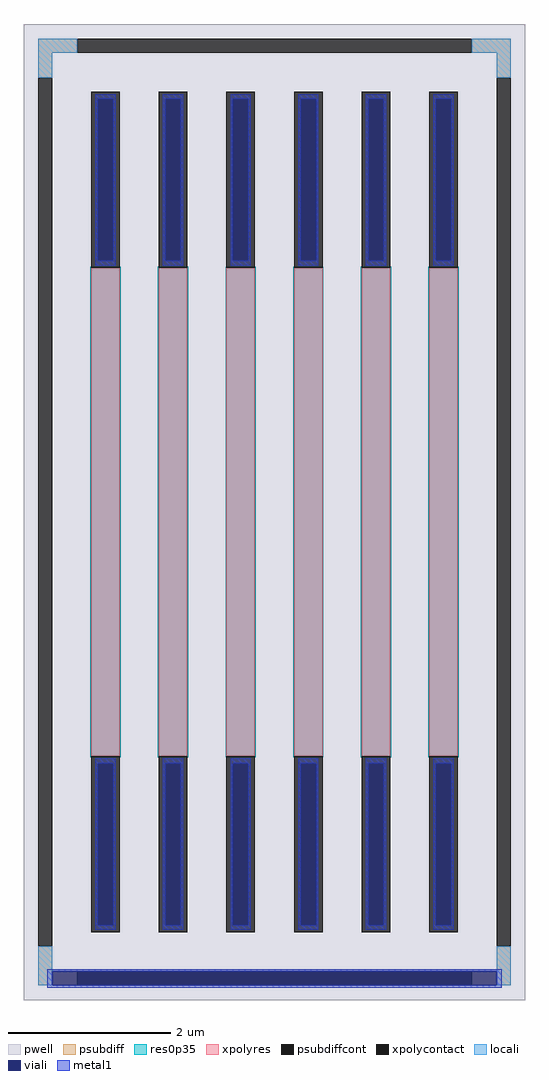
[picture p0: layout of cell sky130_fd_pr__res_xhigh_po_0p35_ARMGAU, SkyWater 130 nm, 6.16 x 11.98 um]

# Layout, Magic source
magic
tech sky130A
magscale 1 2
<< pwell >>
rect -616 -1198 616 1198
<< psubdiff >>
rect -580 1128 -484 1162
rect 484 1128 580 1162
rect -580 1066 -546 1128
rect 546 1066 580 1128
rect -580 -1128 -546 -1066
rect 546 -1128 580 -1066
rect -580 -1162 -484 -1128
rect 484 -1162 580 -1128
<< psubdiffcont >>
rect -484 1128 484 1162
rect -580 -1066 -546 1066
rect 546 -1066 580 1066
rect -484 -1162 484 -1128
<< xpolycontact >>
rect -450 600 -380 1032
rect -450 -1032 -380 -600
rect -284 600 -214 1032
rect -284 -1032 -214 -600
rect -118 600 -48 1032
rect -118 -1032 -48 -600
rect 48 600 118 1032
rect 48 -1032 118 -600
rect 214 600 284 1032
rect 214 -1032 284 -600
rect 380 600 450 1032
rect 380 -1032 450 -600
<< xpolyres >>
rect -450 -600 -380 600
rect -284 -600 -214 600
rect -118 -600 -48 600
rect 48 -600 118 600
rect 214 -600 284 600
rect 380 -600 450 600
<< locali >>
rect -580 1128 -484 1162
rect 484 1128 580 1162
rect -580 1066 -546 1128
rect 546 1066 580 1128
rect -580 -1162 -546 -1066
rect 546 -1162 580 -1066
<< viali >>
rect -434 617 -396 1014
rect -268 617 -230 1014
rect -102 617 -64 1014
rect 64 617 102 1014
rect 230 617 268 1014
rect 396 617 434 1014
rect -434 -1014 -396 -617
rect -268 -1014 -230 -617
rect -102 -1014 -64 -617
rect 64 -1014 102 -617
rect 230 -1014 268 -617
rect 396 -1014 434 -617
rect -546 -1162 -484 -1128
rect -484 -1162 484 -1128
rect 484 -1162 546 -1128
<< metal1 >>
rect -440 1014 -390 1026
rect -440 617 -434 1014
rect -396 617 -390 1014
rect -440 605 -390 617
rect -274 1014 -224 1026
rect -274 617 -268 1014
rect -230 617 -224 1014
rect -274 605 -224 617
rect -108 1014 -58 1026
rect -108 617 -102 1014
rect -64 617 -58 1014
rect -108 605 -58 617
rect 58 1014 108 1026
rect 58 617 64 1014
rect 102 617 108 1014
rect 58 605 108 617
rect 224 1014 274 1026
rect 224 617 230 1014
rect 268 617 274 1014
rect 224 605 274 617
rect 390 1014 440 1026
rect 390 617 396 1014
rect 434 617 440 1014
rect 390 605 440 617
rect -440 -617 -390 -605
rect -440 -1014 -434 -617
rect -396 -1014 -390 -617
rect -440 -1026 -390 -1014
rect -274 -617 -224 -605
rect -274 -1014 -268 -617
rect -230 -1014 -224 -617
rect -274 -1026 -224 -1014
rect -108 -617 -58 -605
rect -108 -1014 -102 -617
rect -64 -1014 -58 -617
rect -108 -1026 -58 -1014
rect 58 -617 108 -605
rect 58 -1014 64 -617
rect 102 -1014 108 -617
rect 58 -1026 108 -1014
rect 224 -617 274 -605
rect 224 -1014 230 -617
rect 268 -1014 274 -617
rect 224 -1026 274 -1014
rect 390 -617 440 -605
rect 390 -1014 396 -617
rect 434 -1014 440 -617
rect 390 -1026 440 -1014
rect -558 -1128 558 -1122
rect -558 -1162 -546 -1128
rect 546 -1162 558 -1128
rect -558 -1168 558 -1162
<< res0p35 >>
rect -452 -602 -378 602
rect -286 -602 -212 602
rect -120 -602 -46 602
rect 46 -602 120 602
rect 212 -602 286 602
rect 378 -602 452 602
<< properties >>
string FIXED_BBOX -563 -1145 563 1145
string gencell sky130_fd_pr__res_xhigh_po_0p35
string library sky130
string parameters w 0.350 l 6 m 1 nx 6 wmin 0.350 lmin 0.50 rho 2000 val 35.361k dummy 0 dw 0.0 term 188.2 sterm 0.0 caplen 0 wmax 0.350 guard 1 glc 1 grc 1 gtc 1 gbc 1 compatible {sky130_fd_pr__res_xhigh_po_0p35  sky130_fd_pr__res_xhigh_po_0p69 sky130_fd_pr__res_xhigh_po_1p41  sky130_fd_pr__res_xhigh_po_2p85 sky130_fd_pr__res_xhigh_po_5p73} snake 0 full_metal 1 n_guard 0 hv_guard 0 vias 1 viagb 100 viagt 0 viagl 0 viagr 0
<< end >>
